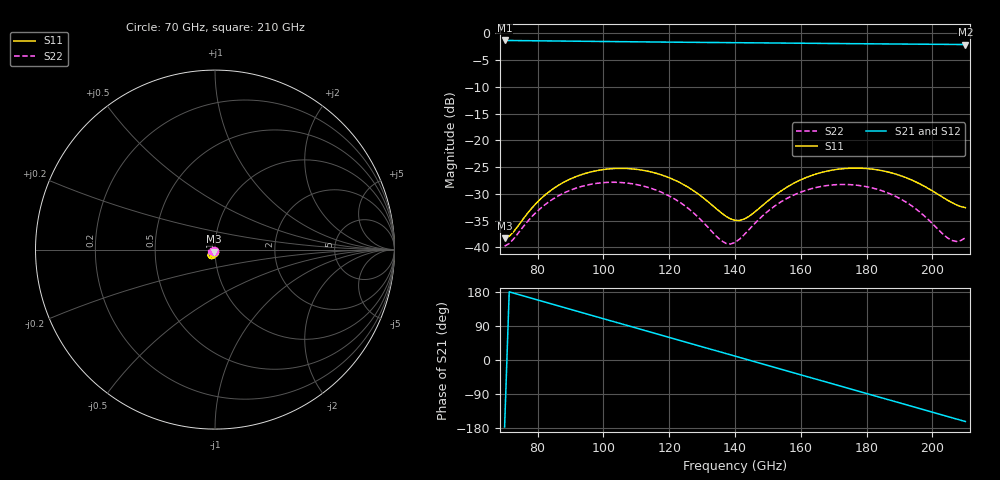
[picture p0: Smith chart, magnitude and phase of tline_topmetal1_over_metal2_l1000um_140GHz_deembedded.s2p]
! Created with skrf 2.0.1 (http://scikit-rf.org).
# GHz S DB R 50.0
!freq dBS11 angS11 dBS21 angS21 dBS12 angS12 dBS22 angS22
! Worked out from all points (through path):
!   101 points, 70 GHz to 210 GHz, reference 50 ohm
!   highest |S21| = -1.32 dB at 70 GHz (marker M1); lowest = -2.1 dB at 210 GHz (marker M2)
!   group delay of S21, straight-line fit = 6.86 ps
!   lowest |S11| = -38.3 dB at 70 GHz (marker M3), VSWR 1.02, Z = 49.5 - j1.08 ohm
!   |S11| at or under -10 dB: start of sweep to end of sweep
!   |S22| runs from -39.8 to -27.8 dB; largest |S21 - S12| = 9.4e-14
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70  -38.28 -116.3  -1.32 -176.7  -1.32 -176.7  -39.76 -121.0
72.8  -37.02 -94.2  -1.33 176.4  -1.33 176.4  -38.36 -101.6
75.6  -34.71 -82.8  -1.35 169.5  -1.35 169.5  -36.16 -92.5
82.6  -30.03 -81.1  -1.40 152.1  -1.40 152.1  -31.84 -93.7
93.8  -26.30 -98.8  -1.47 124.4  -1.47 124.4  -28.53 -114.7
100.8  -25.38 -112.3  -1.51 107.1  -1.51 107.1  -27.85 -130.1
106.4  -25.23 -123.2  -1.55 93.2  -1.55 93.2  -27.92 -142.6
112  -25.57 -133.7  -1.58 79.4  -1.58 79.4  -28.50 -154.5
117.6  -26.43 -143.2  -1.61 65.5  -1.61 65.5  -29.67 -165.5
128.8  -30.00 -154.6  -1.67 37.9  -1.67 37.9  -34.33 -177.7
135.8  -33.52 -146.2  -1.71 20.6  -1.71 20.6  -38.72 -160.7
140  -34.93 -128.4  -1.73 10.3  -1.73 10.3  -39.07 -134.1
144.2  -34.21 -107.9  -1.75 -0.1  -1.75 -0.1  -36.70 -116.5
151.2  -30.70 -93.9  -1.79 -17.4  -1.79 -17.4  -32.65 -113.3
156.8  -28.36 -95.4  -1.82 -31.2  -1.82 -31.2  -30.51 -120.0
163.8  -26.44 -103.2  -1.85 -48.5  -1.85 -48.5  -28.92 -132.2
170.8  -25.42 -113.4  -1.89 -65.8  -1.89 -65.8  -28.26 -145.8
176.4  -25.17 -122.1  -1.92 -79.6  -1.92 -79.6  -28.33 -156.9
187.6  -26.07 -138.1  -1.97 -107.2  -1.97 -107.2  -30.11 -177.2
196  -28.07 -145.4  -2.01 -127.9  -2.01 -127.9  -33.31 174.1
205.8  -31.60 -137.7  -2.06 -152.0  -2.06 -152.0  -38.67 -162.8
210  -32.56 -124.6  -2.07 -162.4  -2.07 -162.4  -38.20 -137.7
